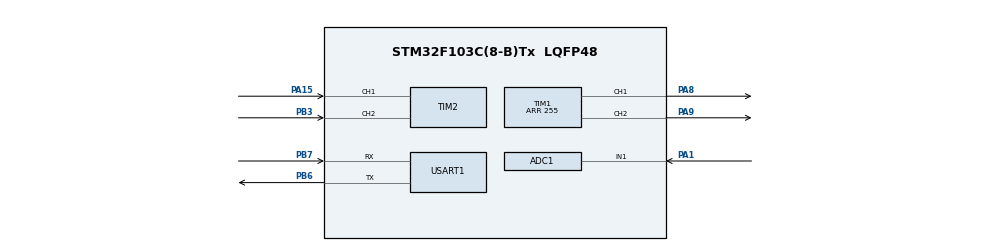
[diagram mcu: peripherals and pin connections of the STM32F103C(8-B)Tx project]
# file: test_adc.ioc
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ADC1.Channel-0\#ChannelRegularConversion=ADC_CHANNEL_1
ADC1.NbrOfConversionFlag=1
ADC1.Rank-0\#ChannelRegularConversion=1
ADC1.SamplingTime-0\#ChannelRegularConversion=ADC_SAMPLETIME_1CYCLE_5
ADC1.master=1
Mcu.Family=STM32F1
Mcu.Name=STM32F103C(8-B)Tx
Mcu.Package=LQFP48
NVIC.PriorityGroup=NVIC_PRIORITYGROUP_4
NVIC.TIM2_IRQn=true\:0\:0\:false\:false\:true\:true\:true\:true
NVIC.TIM4_IRQn=true\:0\:0\:false\:false\:true\:true\:true\:true
NVIC.USART1_IRQn=true\:1\:0\:true\:false\:true\:true\:true\:true
PA1.Signal=ADCx_IN1
PA13.Mode=Serial_Wire
PA13.Signal=SYS_JTMS-SWDIO
PA14.Mode=Serial_Wire
PA14.Signal=SYS_JTCK-SWCLK
PA15.Signal=S_TIM2_CH1_ETR
PA8.Signal=S_TIM1_CH1
PA9.Signal=S_TIM1_CH2
PB3.Signal=S_TIM2_CH2
PB6.Mode=Asynchronous
PB6.Signal=USART1_TX
PB7.Mode=Asynchronous
PB7.Signal=USART1_RX
PD0-OSC_IN.Mode=HSE-External-Oscillator
PD0-OSC_IN.Signal=RCC_OSC_IN
PD1-OSC_OUT.Mode=HSE-External-Oscillator
PD1-OSC_OUT.Signal=RCC_OSC_OUT
ProjectManager.HeapSize=0x200
ProjectManager.StackSize=0x400
ProjectManager.TargetToolchain=Makefile
RCC.AHBFreq_Value=8000000
RCC.APB1CLKDivider=RCC_HCLK_DIV2
RCC.APB1Freq_Value=4000000
RCC.APB1TimFreq_Value=8000000
RCC.APB2Freq_Value=8000000
RCC.APB2TimFreq_Value=8000000
RCC.HCLKFreq_Value=8000000
RCC.PLLSourceVirtual=RCC_PLLSOURCE_HSE
RCC.SYSCLKSource=RCC_SYSCLKSOURCE_HSE
RCC.USBFreq_Value=16000000
SH.ADCx_IN1.0=ADC1_IN1,IN1
SH.S_TIM1_CH1.0=TIM1_CH1,PWM Generation1 CH1
SH.S_TIM1_CH2.0=TIM1_CH2,PWM Generation2 CH2
SH.S_TIM2_CH1_ETR.0=TIM2_CH1,Encoder_Interface
SH.S_TIM2_CH2.0=TIM2_CH2,Encoder_Interface
TIM1.Channel-PWM\ Generation1\ CH1=TIM_CHANNEL_1
TIM1.Channel-PWM\ Generation2\ CH2=TIM_CHANNEL_2
TIM1.Period=255
TIM4.Period=10
TIM4.Prescaler=7999
USART1.VirtualMode=VM_ASYNC
VP_TIM1_VS_ClockSourceINT.Mode=Internal
VP_TIM4_VS_ClockSourceINT.Mode=Internal
board=custom

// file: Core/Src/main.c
/* USER CODE BEGIN Header */
/**
  ******************************************************************************
  * @file           : main.c
  * @brief          : Main program body
  ******************************************************************************
  * @attention
  *
  * <h2><center>&copy; Copyright (c) 2023 STMicroelectronics.
  * All rights reserved.</center></h2>
  *
  * This software component is licensed by ST under BSD 3-Clause license,
  * the "License"; You may not use this file except in compliance with the
  * License. You may obtain a copy of the License at:
  *                        opensource.org/licenses/BSD-3-Clause
  *
  ******************************************************************************
  */
/* USER CODE END Header */
#include "main.h"

/* USER CODE BEGIN Includes */
#include "stdio.h"
#include "math.h"
#define 	dt1  0.01
/* USER CODE END Includes */

/* USER CODE BEGIN PD */

char ps[4];
uint8_t ps2,ps_num,ps_1,ps_2,ps_3;

float var, goc,a;

float P_part1 ,I_part1,D_part1,Error1,pre_Error1,pre_pre_Error1,Out1,pre_Out1;
float  P_part2 ,I_part2,D_part2,Error2,pre_Error2,pre_pre_Error2,Out2,pre_Out2;
float  Kp1 = 16;//8;//18;//34; //28 //30 //26
float  Ki1 =190;//30;//190;//440;//230//350//390
float  Kd1 = 0.2;//0.2;//0.12;//1.12;//1.182;//1.14//1.18//1.18

float  Kp2 =1;//8;//18;//34; //28 //30 //26
float  Ki2 =0.1;//30;//190;//440;//230//350//390
float  Kd2 = 0.007;//0.2;//0.12;//1.12;//1.182;//1.14//1.18//1.18

float maxPID = 255;
float xungbu=65;//130;

float xung_servo;

float xung;
float bien;

volatile short encoder_out_1 =0,encoder_out_2 =0,encoder_out_3=0;
float position_1;
float position_2;
float position_3;
int16_t count_1 = 0;
int16_t count_2 = 0;
int16_t count_3 = 0;

/* USER CODE END PD */

ADC_HandleTypeDef hadc1;

TIM_HandleTypeDef htim1;
TIM_HandleTypeDef htim2;
TIM_HandleTypeDef htim4;

UART_HandleTypeDef huart1;

void SystemClock_Config(void);
static void MX_GPIO_Init(void);
static void MX_ADC1_Init(void);
static void MX_TIM1_Init(void);
static void MX_TIM4_Init(void);
static void MX_USART1_UART_Init(void);
static void MX_TIM2_Init(void);

/* USER CODE BEGIN 0 */
void HAL_UART_RxCpltCallback(UART_HandleTypeDef *huart){
    if(huart->Instance == USART1){
      //  HAL_UART_Transmit(&huart1,&ps2,sizeof(&ps2), 100);
        HAL_UART_Receive_IT(&huart1, &ps2, 1);

    }
	}

void servo(int chieu, float pwm){

	if(chieu==0){
			__HAL_TIM_SET_COMPARE(&htim1,TIM_CHANNEL_1,0);
			__HAL_TIM_SET_COMPARE(&htim1,TIM_CHANNEL_2,fabs(pwm));
	}

 if (chieu==1){
			__HAL_TIM_SET_COMPARE(&htim1,TIM_CHANNEL_1,fabs(pwm));
			__HAL_TIM_SET_COMPARE(&htim1,TIM_CHANNEL_2,0);
	}

	if (chieu==2){
			__HAL_TIM_SET_COMPARE(&htim1,TIM_CHANNEL_1,0);
			__HAL_TIM_SET_COMPARE(&htim1,TIM_CHANNEL_2,0);

	}

}

void PID_goc(float setpoint,float angle_current)
	{

								Error2 = setpoint- angle_current;
								P_part2 = Kp2*(Error2 - pre_Error2);
								I_part2 = 0.5*Ki2*dt1*(Error2 + pre_Error2);
								D_part2= Kd2/dt1*( Error2 - 2*pre_Error2+ pre_pre_Error2);
								Out2 = pre_Out2 + P_part2 + I_part2 + D_part2 ;

								if(Out2>0) xung=Out2+xungbu;
		            if(Out2<0) xung=Out2-xungbu;

								if (xung > 100) xung = maxPID;// gioi han xung k qua 255
								else if (xung <-100) xung = -maxPID;

							 if(Out2>0) servo(1,xung);
		           if(Out2<0) servo(0,xung);
		           if(Out2==0) servo(2,xung);

		// neu nghieng qua 50 hoac -50 do, xung xuat ra bang 0

 		pre_pre_Error2 = pre_Error2;
    pre_Error2 = Error2;
    pre_Out2 = Out2;

	}

void HAL_TIM_IC_CaptureCallback(TIM_HandleTypeDef *htim)
	{

		if (htim->Instance == TIM2)
			{
				encoder_out_2 = __HAL_TIM_GET_COUNTER(&htim2);
				count_2 = (int16_t)encoder_out_2;
				position_2 = count_2/40;

			}

}

void HAL_TIM_PeriodElapsedCallback(TIM_HandleTypeDef *htim)
	{

		if (htim->Instance == TIM4 )
			{
		 HAL_ADC_Start(&hadc1);
		var=HAL_ADC_GetValue(&hadc1);
		HAL_ADC_Stop(&hadc1);
		goc=var*0.065;
    PID_goc(180,goc);

			}
	}

/* USER CODE END 0 */

int main(void)
{

  /* MCU Configuration--------------------------------------------------------*/

  /* Reset of all peripherals, Initializes the Flash interface and the Systick. */
  HAL_Init();

  /* Configure the system clock */
  SystemClock_Config();

  /* Initialize all configured peripherals */
  MX_GPIO_Init();
  MX_ADC1_Init();
  MX_TIM1_Init();
  MX_TIM4_Init();
  MX_USART1_UART_Init();
  MX_TIM2_Init();
  /* USER CODE BEGIN 2 */
	HAL_TIM_Base_Start_IT(&htim4);
	HAL_TIM_PWM_Start(&htim1,TIM_CHANNEL_1);
	HAL_TIM_PWM_Start(&htim1,TIM_CHANNEL_2);
	HAL_TIM_Encoder_Start_IT(&htim2,TIM_CHANNEL_1|TIM_CHANNEL_2);
  /* USER CODE END 2 */

  /* Infinite loop */
  while (1)
  {

    /* USER CODE BEGIN 3 */
//		 HAL_ADC_Start(&hadc1);
//		HAL_Delay(50);
//		var=HAL_ADC_GetValue(&hadc1);
//		HAL_ADC_Stop(&hadc1);
//		goc=var*0.065;
//servo(1,85);

//	for(int i=130; i<180; i=i+5){
//		bien=i;
//		HAL_Delay(100);
//	}
//
//		HAL_Delay(1000);
//				bien=180;
//		HAL_Delay(1000);
//				bien=100;
//		HAL_Delay(1000);

//	HAL_Delay(100);
	a++;

  }
  /* USER CODE END 3 */
}

void SystemClock_Config(void)
{
  RCC_OscInitTypeDef RCC_OscInitStruct = {0};
  RCC_ClkInitTypeDef RCC_ClkInitStruct = {0};
  RCC_PeriphCLKInitTypeDef PeriphClkInit = {0};

  /** Initializes the RCC Oscillators according to the specified parameters
  * in the RCC_OscInitTypeDef structure.
  */
  RCC_OscInitStruct.OscillatorType = RCC_OSCILLATORTYPE_HSE;
  RCC_OscInitStruct.HSEState = RCC_HSE_ON;
  RCC_OscInitStruct.PLL.PLLState = RCC_PLL_NONE;
  if (HAL_RCC_OscConfig(&RCC_OscInitStruct) != HAL_OK)
  {
    Error_Handler();
  }

  /** Initializes the CPU, AHB and APB buses clocks
  */
  RCC_ClkInitStruct.ClockType = RCC_CLOCKTYPE_HCLK|RCC_CLOCKTYPE_SYSCLK
                              |RCC_CLOCKTYPE_PCLK1|RCC_CLOCKTYPE_PCLK2;
  RCC_ClkInitStruct.SYSCLKSource = RCC_SYSCLKSOURCE_HSE;
  RCC_ClkInitStruct.AHBCLKDivider = RCC_SYSCLK_DIV1;
  RCC_ClkInitStruct.APB1CLKDivider = RCC_HCLK_DIV2;
  RCC_ClkInitStruct.APB2CLKDivider = RCC_HCLK_DIV1;

  if (HAL_RCC_ClockConfig(&RCC_ClkInitStruct, FLASH_LATENCY_0) != HAL_OK)
  {
    Error_Handler();
  }
  PeriphClkInit.PeriphClockSelection = RCC_PERIPHCLK_ADC;
  PeriphClkInit.AdcClockSelection = RCC_ADCPCLK2_DIV2;
  if (HAL_RCCEx_PeriphCLKConfig(&PeriphClkInit) != HAL_OK)
  {
    Error_Handler();
  }
}

static void MX_ADC1_Init(void)
{

  ADC_ChannelConfTypeDef sConfig = {0};

  /** Common config
  */
  hadc1.Instance = ADC1;
  hadc1.Init.ScanConvMode = ADC_SCAN_DISABLE;
  hadc1.Init.ContinuousConvMode = DISABLE;
  hadc1.Init.DiscontinuousConvMode = DISABLE;
  hadc1.Init.ExternalTrigConv = ADC_SOFTWARE_START;
  hadc1.Init.DataAlign = ADC_DATAALIGN_RIGHT;
  hadc1.Init.NbrOfConversion = 1;
  if (HAL_ADC_Init(&hadc1) != HAL_OK)
  {
    Error_Handler();
  }

  /** Configure Regular Channel
  */
  sConfig.Channel = ADC_CHANNEL_1;
  sConfig.Rank = ADC_REGULAR_RANK_1;
  sConfig.SamplingTime = ADC_SAMPLETIME_1CYCLE_5;
  if (HAL_ADC_ConfigChannel(&hadc1, &sConfig) != HAL_OK)
  {
    Error_Handler();
  }

}

static void MX_TIM1_Init(void)
{

  TIM_ClockConfigTypeDef sClockSourceConfig = {0};
  TIM_MasterConfigTypeDef sMasterConfig = {0};
  TIM_OC_InitTypeDef sConfigOC = {0};
  TIM_BreakDeadTimeConfigTypeDef sBreakDeadTimeConfig = {0};

  htim1.Instance = TIM1;
  htim1.Init.Prescaler = 0;
  htim1.Init.CounterMode = TIM_COUNTERMODE_UP;
  htim1.Init.Period = 255;
  htim1.Init.ClockDivision = TIM_CLOCKDIVISION_DIV1;
  htim1.Init.RepetitionCounter = 0;
  htim1.Init.AutoReloadPreload = TIM_AUTORELOAD_PRELOAD_DISABLE;
  if (HAL_TIM_Base_Init(&htim1) != HAL_OK)
  {
    Error_Handler();
  }
  sClockSourceConfig.ClockSource = TIM_CLOCKSOURCE_INTERNAL;
  if (HAL_TIM_ConfigClockSource(&htim1, &sClockSourceConfig) != HAL_OK)
  {
    Error_Handler();
  }
  if (HAL_TIM_PWM_Init(&htim1) != HAL_OK)
  {
    Error_Handler();
  }
  sMasterConfig.MasterOutputTrigger = TIM_TRGO_RESET;
  sMasterConfig.MasterSlaveMode = TIM_MASTERSLAVEMODE_DISABLE;
  if (HAL_TIMEx_MasterConfigSynchronization(&htim1, &sMasterConfig) != HAL_OK)
  {
    Error_Handler();
  }
  sConfigOC.OCMode = TIM_OCMODE_PWM1;
  sConfigOC.Pulse = 0;
  sConfigOC.OCPolarity = TIM_OCPOLARITY_HIGH;
  sConfigOC.OCNPolarity = TIM_OCNPOLARITY_HIGH;
  sConfigOC.OCFastMode = TIM_OCFAST_DISABLE;
  sConfigOC.OCIdleState = TIM_OCIDLESTATE_RESET;
  sConfigOC.OCNIdleState = TIM_OCNIDLESTATE_RESET;
  if (HAL_TIM_PWM_ConfigChannel(&htim1, &sConfigOC, TIM_CHANNEL_1) != HAL_OK)
  {
    Error_Handler();
  }
  if (HAL_TIM_PWM_ConfigChannel(&htim1, &sConfigOC, TIM_CHANNEL_2) != HAL_OK)
  {
    Error_Handler();
  }
  sBreakDeadTimeConfig.OffStateRunMode = TIM_OSSR_DISABLE;
  sBreakDeadTimeConfig.OffStateIDLEMode = TIM_OSSI_DISABLE;
  sBreakDeadTimeConfig.LockLevel = TIM_LOCKLEVEL_OFF;
  sBreakDeadTimeConfig.DeadTime = 0;
  sBreakDeadTimeConfig.BreakState = TIM_BREAK_DISABLE;
  sBreakDeadTimeConfig.BreakPolarity = TIM_BREAKPOLARITY_HIGH;
  sBreakDeadTimeConfig.AutomaticOutput = TIM_AUTOMATICOUTPUT_DISABLE;
  if (HAL_TIMEx_ConfigBreakDeadTime(&htim1, &sBreakDeadTimeConfig) != HAL_OK)
  {
    Error_Handler();
  }
  HAL_TIM_MspPostInit(&htim1);

}

static void MX_TIM2_Init(void)
{

  TIM_Encoder_InitTypeDef sConfig = {0};
  TIM_MasterConfigTypeDef sMasterConfig = {0};

  htim2.Instance = TIM2;
  htim2.Init.Prescaler = 0;
  htim2.Init.CounterMode = TIM_COUNTERMODE_UP;
  htim2.Init.Period = 65535;
  htim2.Init.ClockDivision = TIM_CLOCKDIVISION_DIV1;
  htim2.Init.AutoReloadPreload = TIM_AUTORELOAD_PRELOAD_DISABLE;
  sConfig.EncoderMode = TIM_ENCODERMODE_TI1;
  sConfig.IC1Polarity = TIM_ICPOLARITY_RISING;
  sConfig.IC1Selection = TIM_ICSELECTION_DIRECTTI;
  sConfig.IC1Prescaler = TIM_ICPSC_DIV1;
  sConfig.IC1Filter = 0;
  sConfig.IC2Polarity = TIM_ICPOLARITY_RISING;
  sConfig.IC2Selection = TIM_ICSELECTION_DIRECTTI;
  sConfig.IC2Prescaler = TIM_ICPSC_DIV1;
  sConfig.IC2Filter = 0;
  if (HAL_TIM_Encoder_Init(&htim2, &sConfig) != HAL_OK)
  {
    Error_Handler();
  }
  sMasterConfig.MasterOutputTrigger = TIM_TRGO_RESET;
  sMasterConfig.MasterSlaveMode = TIM_MASTERSLAVEMODE_DISABLE;
  if (HAL_TIMEx_MasterConfigSynchronization(&htim2, &sMasterConfig) != HAL_OK)
  {
    Error_Handler();
  }

}

static void MX_TIM4_Init(void)
{

  TIM_ClockConfigTypeDef sClockSourceConfig = {0};
  TIM_MasterConfigTypeDef sMasterConfig = {0};

  htim4.Instance = TIM4;
  htim4.Init.Prescaler = 7999;
  htim4.Init.CounterMode = TIM_COUNTERMODE_UP;
  htim4.Init.Period = 10;
  htim4.Init.ClockDivision = TIM_CLOCKDIVISION_DIV1;
  htim4.Init.AutoReloadPreload = TIM_AUTORELOAD_PRELOAD_DISABLE;
  if (HAL_TIM_Base_Init(&htim4) != HAL_OK)
  {
    Error_Handler();
  }
  sClockSourceConfig.ClockSource = TIM_CLOCKSOURCE_INTERNAL;
  if (HAL_TIM_ConfigClockSource(&htim4, &sClockSourceConfig) != HAL_OK)
  {
    Error_Handler();
  }
  sMasterConfig.MasterOutputTrigger = TIM_TRGO_RESET;
  sMasterConfig.MasterSlaveMode = TIM_MASTERSLAVEMODE_DISABLE;
  if (HAL_TIMEx_MasterConfigSynchronization(&htim4, &sMasterConfig) != HAL_OK)
  {
    Error_Handler();
  }

}

static void MX_USART1_UART_Init(void)
{

  huart1.Instance = USART1;
  huart1.Init.BaudRate = 115200;
  huart1.Init.WordLength = UART_WORDLENGTH_8B;
  huart1.Init.StopBits = UART_STOPBITS_1;
  huart1.Init.Parity = UART_PARITY_NONE;
  huart1.Init.Mode = UART_MODE_TX_RX;
  huart1.Init.HwFlowCtl = UART_HWCONTROL_NONE;
  huart1.Init.OverSampling = UART_OVERSAMPLING_16;
  if (HAL_UART_Init(&huart1) != HAL_OK)
  {
    Error_Handler();
  }

}

static void MX_GPIO_Init(void)
{

  /* GPIO Ports Clock Enable */
  __HAL_RCC_GPIOD_CLK_ENABLE();
  __HAL_RCC_GPIOA_CLK_ENABLE();
  __HAL_RCC_GPIOB_CLK_ENABLE();

}

void Error_Handler(void)
{
  __disable_irq();
  while (1)
  {
  }
}
